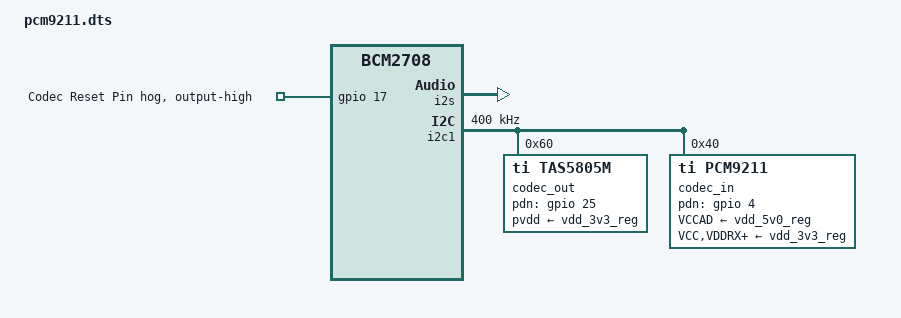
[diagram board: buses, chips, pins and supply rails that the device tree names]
//Device tree overlay for generic I2S audio codec. ex) Asahi kasei AK4558
//Raspi: I2S slave
//SPdif Codec: I2S master
//TAS5805m: slave to SPdif
// dtc -@ -H epapr -O dtb -o /boot/overlays/pcm9211.dtbo -Wno-unit_address_vs_reg pcm9211.dts
/dts-v1/;
/plugin/;

/ {
    compatible = "brcm,bcm2708";

    fragment@0 {
        target = <&gpio>;
        __overlay__ {
            codec_reset: codec-reset {
                gpio-hog;
                gpios = <17 0>;  // GPIO pin 17, initially set to high
                output-high;
                line-name = "Codec Reset Pin";
            };
        };
    };

    fragment@1 {
        target = <&sound>;
        __overlay__ {
            compatible = "simple-audio-card";
            simple-audio-card,name = "AmpliMuseAmp";
            status="okay";

            capture_link: simple-audio-card,dai-link@0 {
                format = "i2s";

                // Set RasPi to I2S slave
                bitclock-master = <&r_codec_dai>;
                frame-master = <&r_codec_dai>;

                r_cpu_dai: cpu {
                    sound-dai = <&i2s>;

                // TDM slot configuration for stereo
                    dai-tdm-slot-num = <2>;
                    dai-tdm-slot-width = <32>;
                };

                r_codec_dai: codec {
                    sound-dai = <&codec_in>;
                };
            };

           playback_link: simple-audio-card,dai-link@1 {
                format = "i2s";

                // Set RasPi to I2S slave
                bitclock-master = <&p_codec_dai>;
                frame-master = <&p_codec_dai>;

                p_cpu_dai: cpu {
                    sound-dai = <&i2s>;

                // TDM slot configuration for stereo
                    dai-tdm-slot-num = <2>;
                    dai-tdm-slot-width = <32>;
                };

                p_codec_dai: codec {
                    sound-dai = <&codec_out>;
                };
            };

     };
    };
    fragment@2 {
        target = <&i2s>;
        __overlay__ {
            #sound-dai-cells = <0>;
            status = "okay";
        };
    };

    fragment@3 {
        target = <&i2c1>;
        __overlay__ {
            status = "okay";
            clock-frequency = <400000>;
            #address-cells = <1>;
            #size-cells = <0>;

            codec_out: tas5805m@60 {
                #sound-dai-cells = <0>;
                compatible = "ti,tas5805m";
                reg = <0x60>;
                pvdd-supply = <&vdd_3v3_reg>;
//                pdn-gpios = <&gpio 4 0>;
                pdn-gpios = <&gpio 25 0>;
                ti,dsp-config-name = "default";
            };

            codec_in: pcm9211@40 {
                #sound-dai-cells = <0>;
                compatible = "ti,pcm9211";
                reg = <0x40>;
//		VCCAD-supply = <&reg_5v0_analog>;
//		VCC-supply = <&reg_3v3_pll_analog>;
		VCCAD-supply = <&vdd_5v0_reg>;
		VCC-supply = <&vdd_3v3_reg>;
		VDDRX-supply = <&vdd_3v3_reg>;
		DVDD-supply = <&vdd_3v3_reg>;
		ti,group-function = /bits/ 8 <0x01 0x05 0x00>;		// reg 0x6f ADC AUXIN2
                ti,mpio-b-flags-gpio = /bits/ 8 <0x00 0x00 0x00 0x00>;	// reg 0x71 default
		ti,mpo-function = /bits/ 8 <0x02 0x0d>;			// reg 0x78 MPO0 high, MPO1 TXOUT
		ti,int0-function = /bits/ 8 <0x00 0xfd>;		// reg 0x20 0x2a INT0-FSrenew
		ti,int1-function = /bits/ 8 <0x01 0xfe>;		// reg 0x20 0x2b INT1-ADCdet
		ti,adc-function = /bits/ 8 <0x03>;			// reg 0x2e -48dB
//		ti,dit-output = /bits/ 8 <0x00>;			// reg 0x60 DIR/ADC
		ti,dit-output = /bits/ 8 <0x55>;			// reg 0x60 AUXIN2
//		int0-gpio = <&gpio 26 0>;
//		clocks = <&xti_clk>;
//		clock-names = "xti";
		sysclk = <24576000>;
                pvdd-supply = <&vdd_3v3_reg>;
                pdn-gpios = <&gpio 4 0>;
//                pdn-gpios = <&gpio 17 0>;
                ti,dsp-config-name = "default";
            };

        };
    };

    __overrides__ {
//        card-name = <&capture_link>,"simple-audio-card,name";
	reset-pin = <&codec_reset>,"gpios:0";
    };
};
